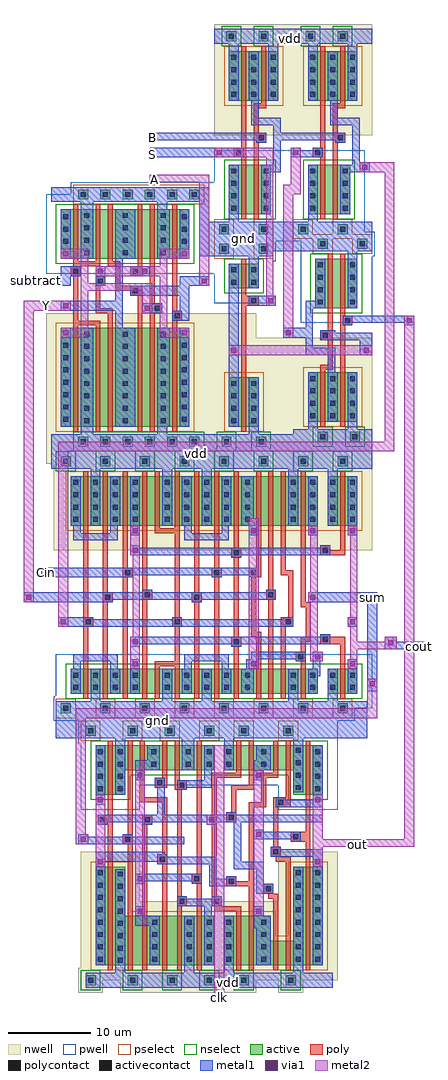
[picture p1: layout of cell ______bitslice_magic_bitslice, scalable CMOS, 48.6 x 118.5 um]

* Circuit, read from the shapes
.subckt ______bitslice_magic_bitslice A B Cin S Y clk cout gnd out subtract sum vdd
M1 gnd subtract n1 gnd nfet w=6u l=0.6u
M2 gnd ______FA_magic_fa_2/A n2 gnd nfet w=3u l=0.6u
M3 n3 subtract gnd gnd nfet w=6u l=0.6u
M4 n2 Y gnd gnd nfet w=3u l=0.6u
M5 gnd clk n4 gnd nfet w=6u l=0.6u
M6 Y A n3 gnd nfet w=6u l=0.6u
M7 n5 Cin n2 gnd nfet w=3u l=0.6u
M8 n6 sum gnd gnd nfet w=3u l=0.6u
M9 n7 n8 Y gnd nfet w=6u l=0.6u
M10 n9 n4 n6 gnd nfet w=3u l=0.6u
M11 n10 Y n5 gnd nfet w=3u l=0.6u
M12 gnd n1 n7 gnd nfet w=6u l=0.6u
M13 gnd ______FA_magic_fa_2/A n10 gnd nfet w=3u l=0.6u
M14 n11 clk n9 gnd nfet w=3u l=0.6u
M15 n8 A gnd gnd nfet w=6u l=0.6u
M16 gnd n12 n11 gnd nfet w=3u l=0.6u
M17 n13 ______FA_magic_fa_2/A gnd gnd nfet w=3u l=0.6u
M18 gnd Y n13 gnd nfet w=3u l=0.6u
M19 n12 n9 gnd gnd nfet w=3u l=0.6u
M20 n13 Cin gnd gnd nfet w=3u l=0.6u
M21 n14 n5 n13 gnd nfet w=3u l=0.6u
M22 n15 n12 gnd gnd nfet w=3u l=0.6u
M23 gnd S ______mux21_magic_mux21_1/______nand_magic_nand_3/B gnd nfet w=3u l=0.6u
M24 n16 S gnd gnd nfet w=6u l=0.6u
M25 n17 clk n15 gnd nfet w=3u l=0.6u
M26 ______mux21_magic_mux21_1/______nand_magic_nand_1/B B n16 gnd nfet w=6u l=0.6u
M27 n18 Cin n14 gnd nfet w=3u l=0.6u
M28 n19 Y n18 gnd nfet w=3u l=0.6u
M29 n20 n4 n17 gnd nfet w=3u l=0.6u
M30 gnd ______FA_magic_fa_2/A n19 gnd nfet w=3u l=0.6u
M31 gnd out n20 gnd nfet w=3u l=0.6u
M32 sum n14 gnd gnd nfet w=3u l=0.6u
M33 out n17 gnd gnd nfet w=6u l=0.6u
M34 n21 ______mux21_magic_mux21_1/______nand_magic_nand_1/A gnd gnd nfet w=6u l=0.6u
M35 n22 ______mux21_magic_mux21_1/______nand_magic_nand_3/B ______mux21_magic_mux21_1/______nand_magic_nand_1/A gnd nfet w=6u l=0.6u
M36 ______FA_magic_fa_2/A ______mux21_magic_mux21_1/______nand_magic_nand_1/B n21 gnd nfet w=6u l=0.6u
M37 cout n5 gnd gnd nfet w=3u l=0.6u
M38 gnd out n22 gnd nfet w=6u l=0.6u
M39 vdd subtract n1 vdd pfet w=12u l=0.6u
M40 vdd ______FA_magic_fa_2/A n23 vdd pfet w=6u l=0.6u
M41 n24 subtract vdd vdd pfet w=12u l=0.6u
M42 n23 Y vdd vdd pfet w=6u l=0.6u
M43 vdd clk n4 vdd pfet w=12u l=0.6u
M44 Y n8 n24 vdd pfet w=12u l=0.6u
M45 n5 Cin n23 vdd pfet w=6u l=0.6u
M46 n25 sum vdd vdd pfet w=6u l=0.6u
M47 n26 A Y vdd pfet w=12u l=0.6u
M48 n9 clk n25 vdd pfet w=6u l=0.6u
M49 n27 Y n5 vdd pfet w=6u l=0.6u
M50 vdd n1 n26 vdd pfet w=12u l=0.6u
M51 vdd ______FA_magic_fa_2/A n27 vdd pfet w=6u l=0.6u
M52 n28 n4 n9 vdd pfet w=6u l=0.6u
M53 n8 A vdd vdd pfet w=12u l=0.6u
M54 n29 ______FA_magic_fa_2/A vdd vdd pfet w=6u l=0.6u
M55 vdd n12 n28 vdd pfet w=6u l=0.6u
M56 vdd Y n29 vdd pfet w=6u l=0.6u
M57 n12 n9 vdd vdd pfet w=6u l=0.6u
M58 n29 Cin vdd vdd pfet w=6u l=0.6u
M59 n14 n5 n29 vdd pfet w=6u l=0.6u
M60 n30 n12 vdd vdd pfet w=6u l=0.6u
M61 vdd S ______mux21_magic_mux21_1/______nand_magic_nand_3/B vdd pfet w=6u l=0.6u
M62 ______mux21_magic_mux21_1/______nand_magic_nand_1/B S vdd vdd pfet w=6u l=0.6u
M63 n17 n4 n30 vdd pfet w=6u l=0.6u
M64 n31 Cin n14 vdd pfet w=6u l=0.6u
M65 vdd B ______mux21_magic_mux21_1/______nand_magic_nand_1/B vdd pfet w=6u l=0.6u
M66 n32 Y n31 vdd pfet w=6u l=0.6u
M67 n33 clk n17 vdd pfet w=3u l=0.6u
M68 vdd ______FA_magic_fa_2/A n32 vdd pfet w=6u l=0.6u
M69 vdd out n33 vdd pfet w=3u l=0.6u
M70 sum n14 vdd vdd pfet w=6u l=0.6u
M71 out n17 vdd vdd pfet w=12u l=0.6u
M72 ______mux21_magic_mux21_1/______nand_magic_nand_1/A ______mux21_magic_mux21_1/______nand_magic_nand_3/B vdd vdd pfet w=6u l=0.6u
M73 ______FA_magic_fa_2/A ______mux21_magic_mux21_1/______nand_magic_nand_1/A vdd vdd pfet w=6u l=0.6u
M74 cout n5 vdd vdd pfet w=6u l=0.6u
M75 vdd out ______mux21_magic_mux21_1/______nand_magic_nand_1/A vdd pfet w=6u l=0.6u
M76 vdd ______mux21_magic_mux21_1/______nand_magic_nand_1/B ______FA_magic_fa_2/A vdd pfet w=6u l=0.6u
.ends

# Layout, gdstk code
from math import pi, radians
import gdstk
lib = gdstk.Library(unit=1e-6, precision=1e-09)
def R(c, l, rs):  # rectangles x0, y0, x1, y1
    for r in rs: c.add(gdstk.rectangle(r[:2], r[2:], *l))
def A(c, l, x, y, w, h, nx, ny, dx, dy):  # array of equal rectangles
    R(c, l, [(x+i*dx, y+j*dy, x+i*dx+w, y+j*dy+h) for i in range(nx) for j in range(ny)])
pwell = (41, 0)
nwell = (42, 0)
active = (43, 0)
pselect = (44, 0)
nselect = (45, 0)
poly = (46, 0)
polycontact = (47, 0)
activecontact = (48, 0)
metal1 = (49, 0)
via1 = (50, 0)
metal2 = (51, 0)

c_______xor2_magic_xor2 = lib.new_cell('______XOR2_magic_xor2')
R(c_______xor2_magic_xor2, pwell, [(3,-1.5,19.5,0), (3,0,22.5,1.5), (3.3,1.5,22.5,9.6)])
R(c_______xor2_magic_xor2, nwell, [(3,14.4,22.5,31.5)])
A(c_______xor2_magic_xor2, active, 3.9, -0.6, 1.2, 1.2, 6, 2, 2.7, 30)
R(c_______xor2_magic_xor2, active, [(5.1,1.8,20.7,7.8), (5.1,16.2,20.7,28.2)])
R(c_______xor2_magic_xor2, pselect, [(3.3,-1.2,19.2,1.2), (4.5,15.6,21.3,28.8)])
R(c_______xor2_magic_xor2, nselect, [(4.5,1.2,21.3,8.4), (3.3,28.8,19.2,31.2)])
R(c_______xor2_magic_xor2, poly, [(6.6,1.2,7.2,14.1), (9.3,1.2,9.9,13.2), (10.8,1.2,11.4,8.7), (14.4,1.2,15,8.1), (15.9,1.2,16.5,8.1), (18.6,1.2,19.2,8.1), (13.5,8.1,15,8.7), (15.9,8.1,19.2,8.7), (10.8,8.7,12.3,9.9), (13.5,8.7,14.1,11.1), (18.3,8.7,19.5,9.9), (15.3,9.9,16.5,11.1), (18.6,9.9,19.2,15.3), (10.8,11.1,14.1,11.7), (15.9,11.1,16.5,13.8), (10.8,11.7,12.3,12.3), (10.8,12.3,11.4,28.8), (8.4,13.2,9.9,14.4), (14.4,13.8,16.5,14.4), (6,14.1,7.2,15.3), (9.3,14.4,9.9,28.8), (14.4,14.4,15,28.8), (6.6,15.3,7.2,28.8), (15.9,15.3,19.2,15.9), (15.9,15.9,16.5,28.8), (18.6,15.9,19.2,28.8)])
R(c_______xor2_magic_xor2, polycontact, [(11.4,9,12,9.6), (18.6,9,19.2,9.6), (15.6,10.2,16.2,10.8), (11.4,11.4,12,12), (8.7,13.5,9.3,14.1), (6.3,14.4,6.9,15)])
A(c_______xor2_magic_xor2, activecontact, 4.2, -0.3, 0.6, 0.6, 6, 2, 2.7, 30)
A(c_______xor2_magic_xor2, activecontact, 7.95, 2.25, 0.6, 0.6, 3, 4, 4.65, 1.5)
A(c_______xor2_magic_xor2, activecontact, 5.4, 2.4, 0.6, 0.6, 1, 3, 0, 1.5)
A(c_______xor2_magic_xor2, activecontact, 19.8, 2.4, 0.6, 0.6, 1, 3, 0, 1.5)
A(c_______xor2_magic_xor2, activecontact, 7.95, 16.65, 0.6, 0.6, 3, 8, 4.65, 1.5)
A(c_______xor2_magic_xor2, activecontact, 5.4, 18, 0.6, 0.6, 1, 7, 0, 1.5)
A(c_______xor2_magic_xor2, activecontact, 19.8, 18, 0.6, 0.6, 1, 7, 0, 1.5)
R(c_______xor2_magic_xor2, metal1, [(3.9,-0.9,21.9,0.9), (7.8,0.9,9,1.8), (16.8,0.9,18.3,7.8), (5.1,1.8,6.3,7.8), (7.5,1.8,9,7.8), (11.7,1.8,14.1,7.8), (19.5,1.8,20.7,7.8), (13.2,7.8,14.1,12.9), (9.9,8.7,12.3,9.9), (15.3,8.7,16.5,11.1), (18.3,8.7,20.7,9.9), (19.5,9.9,20.7,11.1), (5.1,10.2,6.3,11.1), (5.1,11.1,12.3,12.3), (5.1,12.3,6.3,14.1), (13.2,12.9,20.7,14.1), (8.4,13.2,10.8,14.4), (5.1,14.1,7.2,15.3), (13.2,14.1,14.1,16.2), (5.1,16.2,6.3,28.2), (7.5,16.2,9,28.2), (11.7,16.2,14.1,28.2), (16.8,16.2,18.3,29.1), (19.5,16.2,20.7,28.2), (7.8,28.2,9,29.1), (3.9,29.1,21.9,30.9)])
R(c_______xor2_magic_xor2, via1, [(5.4,6.9,6,7.5), (19.8,6.9,20.4,7.5), (10.2,9,10.8,9.6), (15.6,9,16.2,9.6), (9.9,13.5,10.5,14.1), (5.4,16.5,6,17.1), (19.8,16.5,20.4,17.1)])
R(c_______xor2_magic_xor2, metal2, [(5.1,6.6,8.7,7.8), (17.4,6.6,20.7,7.8), (7.8,7.8,8.7,8.7), (17.4,7.8,18.3,10.8), (7.8,8.7,16.5,9.9), (7.8,9.9,8.7,16.2), (9.6,10.8,18.3,11.7), (9.6,11.7,10.8,14.4), (17.4,11.7,18.3,16.2), (5.1,16.2,8.7,17.4), (17.4,16.2,20.7,17.4)])
c_______xor2_magic_xor2.add(gdstk.Label('vdd', (4.5,30), layer=49, texttype=0))
c_______xor2_magic_xor2.add(gdstk.Label('gnd', (5.7,0), layer=49, texttype=0))
c_______xor2_magic_xor2.add(gdstk.Label('A', (5.7,10.5), layer=49, texttype=0))
c_______xor2_magic_xor2.add(gdstk.Label('B', (20.1,10.5), layer=49, texttype=0))
c_______xor2_magic_xor2.add(gdstk.Label('Y', (20.1,13.5), layer=49, texttype=0))

c_______nand_magic_nand = lib.new_cell('______nand_magic_nand')
R(c_______nand_magic_nand, pwell, [(-1.5,-1.5,6.3,0), (-1.5,0,7.5,1.5), (-1.2,1.5,7.5,9.6)])
R(c_______nand_magic_nand, nwell, [(-1.2,11.4,8.4,24.9)])
R(c_______nand_magic_nand, active, [(-0.6,-0.6,0.6,0.6), (4.2,-0.6,5.4,0.6), (0.6,1.8,5.7,7.8), (0.6,15.6,6.6,21.6), (0.3,22.8,1.5,24), (4.2,22.8,5.4,24)])
R(c_______nand_magic_nand, pselect, [(-1.2,-1.2,1.2,1.2), (3.6,-1.2,6,1.2), (0,15,7.2,22.2)])
R(c_______nand_magic_nand, nselect, [(0,1.2,6.3,8.4), (-0.3,22.2,2.1,24.6), (3.6,22.2,6,24.6)])
R(c_______nand_magic_nand, poly, [(2.1,1.2,2.7,8.7), (3.6,1.2,4.2,10.5), (1.2,8.7,2.7,9.9), (2.1,9.9,2.7,22.2), (3.6,10.5,5.1,11.7), (3.6,11.7,4.2,14.7), (3.6,14.7,5.1,15.3), (4.5,15.3,5.1,22.2)])
R(c_______nand_magic_nand, polycontact, [(1.5,9,2.1,9.6), (4.2,10.8,4.8,11.4)])
A(c_______nand_magic_nand, activecontact, 0.9, 2.25, 0.6, 0.6, 1, 4, 0, 1.5)
A(c_______nand_magic_nand, activecontact, 4.8, 2.25, 0.6, 0.6, 1, 4, 0, 1.5)
A(c_______nand_magic_nand, activecontact, 0.9, 16.05, 0.6, 0.6, 3, 4, 2.4, 1.5)
R(c_______nand_magic_nand, activecontact, [(-0.3,-0.3,0.3,0.3), (4.5,-0.3,5.1,0.3), (0.6,23.1,1.2,23.7), (4.5,23.1,5.1,23.7)])
R(c_______nand_magic_nand, metal1, [(-1.2,-0.9,8.4,0.9), (0.6,0.9,1.8,7.8), (4.5,1.8,5.7,6.9), (4.5,6.9,6.9,7.8), (6,7.8,6.9,12.6), (-1.2,8.7,2.4,9.6), (1.2,9.6,2.4,9.9), (3.9,10.5,5.1,10.8), (-1.2,10.8,5.1,11.7), (3.3,12.6,6.9,13.5), (3.3,13.5,4.2,15.6), (0.6,15.6,1.8,22.5), (3,15.6,4.2,21.6), (5.4,15.6,6.6,22.5), (-1.2,22.5,8.4,24.3)])
c_______nand_magic_nand.add(gdstk.Label('gnd', (3,0), layer=49, texttype=0))
c_______nand_magic_nand.add(gdstk.Label('vdd', (3,23.4), layer=49, texttype=0))
c_______nand_magic_nand.add(gdstk.Label('A', (-0.9,9), layer=49, texttype=0))
c_______nand_magic_nand.add(gdstk.Label('B', (-0.9,11.1), layer=49, texttype=0))

c_______inv_magic_inverter = lib.new_cell('______inv_magic_inverter')
R(c_______inv_magic_inverter, pwell, [(-1.5,-0.9,6.3,2.1), (-1.2,2.1,6,7.2)])
R(c_______inv_magic_inverter, nwell, [(-1.2,12,6,25.5)])
R(c_______inv_magic_inverter, active, [(-0.6,0,0.6,1.2), (4.2,0,5.4,1.2), (0.6,2.4,4.2,5.4), (0.6,16.2,4.2,22.2), (-0.3,23.4,0.9,24.6), (3.9,23.4,5.1,24.6)])
R(c_______inv_magic_inverter, pselect, [(-1.2,-0.6,1.2,1.8), (3.6,-0.6,6,1.8), (0,15.6,4.8,22.8)])
R(c_______inv_magic_inverter, nselect, [(0,1.8,4.8,6), (-0.9,22.8,1.5,25.2), (3.3,22.8,5.7,25.2)])
R(c_______inv_magic_inverter, poly, [(2.1,1.8,2.7,6.3), (0.6,6.3,2.7,7.5), (2.1,7.5,2.7,22.8)])
R(c_______inv_magic_inverter, polycontact, [(0.9,6.6,1.5,7.2)])
A(c_______inv_magic_inverter, activecontact, 0.9, 16.65, 0.6, 0.6, 1, 4, 0, 1.5)
A(c_______inv_magic_inverter, activecontact, 3.3, 16.65, 0.6, 0.6, 1, 4, 0, 1.5)
R(c_______inv_magic_inverter, activecontact, [(-0.3,0.3,0.3,0.9), (4.5,0.3,5.1,0.9), (0.9,2.85,1.5,3.45), (3.3,2.85,3.9,3.45), (0.9,4.35,1.5,4.95), (3.3,4.35,3.9,4.95), (0,23.7,0.6,24.3), (4.2,23.7,4.8,24.3)])
R(c_______inv_magic_inverter, metal1, [(-1.2,-0.3,6,1.5), (0.6,1.5,1.8,5.4), (3,2.4,4.2,22.2), (-1.2,6.3,1.8,7.2), (0.6,7.2,1.8,7.5), (0.6,16.2,1.8,23.1), (-1.2,23.1,6,24.9)])
c_______inv_magic_inverter.add(gdstk.Label('gnd', (1.8,0.6), layer=49, texttype=0))
c_______inv_magic_inverter.add(gdstk.Label('Y', (3.6,7.8), layer=49, texttype=0))
c_______inv_magic_inverter.add(gdstk.Label('vdd', (2.1,24), layer=49, texttype=0))
c_______inv_magic_inverter.add(gdstk.Label('A', (-0.6,6.6), layer=49, texttype=0))

c_______mux21_magic_mux21 = lib.new_cell('______mux21_magic_mux21')
R(c_______mux21_magic_mux21, pwell, [(10.2,-1.5,11.4,-1.2), (7.2,-1.2,9,0.3), (16.8,0,18,0.3), (8.4,0.3,9,1.8), (8.4,1.8,9.3,9.9)])
R(c_______mux21_magic_mux21, nwell, [(-0.3,-27,18.9,-12.9)])
R(c_______mux21_magic_mux21, metal1, [(6.9,-26.4,18.9,-25.8), (6.9,-25.8,9.3,-24.6), (1.5,-15,2.7,-13.8), (17.4,-15,18.9,-12.3), (8.1,-12.9,11.7,-11.7), (13.8,-12.9,15.6,-12.3), (13.8,-12.3,14.4,-12), (16.5,-11.1,18.9,-10.2), (15.9,-9.3,17.1,-2.4), (5.1,-9,7.2,-7.8), (-0.3,-2.4,18.9,1.2), (16.5,7.2,17.4,13.8), (-0.3,9,3.3,9.9), (9,9,11.7,9.9), (-0.3,9.9,2.1,10.2), (9,9.9,10.2,10.2), (-0.3,11.1,6,12), (6.9,11.1,10.8,12), (-0.3,22.8,18.9,24.6)])
R(c_______mux21_magic_mux21, via1, [(1.8,-14.7,2.4,-14.1), (17.85,-14.7,18.45,-14.1), (8.4,-12.6,9,-12), (6.3,-8.7,6.9,-8.1), (0,9.3,0.6,9.9), (9.3,9.3,9.9,9.9)])
R(c_______mux21_magic_mux21, metal2, [(1.5,-15,18.9,-13.8), (8.1,-12.9,9.3,4.5), (6,-9,7.2,-7.8), (6,-7.8,6.9,9), (8.1,4.5,10.2,5.7), (9,5.7,10.2,10.2), (-0.3,9,6.9,10.2)])
c_______mux21_magic_mux21.add(gdstk.Reference(c_______nand_magic_nand, (0.9,0.3)))
c_______mux21_magic_mux21.add(gdstk.Reference(c_______nand_magic_nand, (10.5,0.3)))
c_______mux21_magic_mux21.add(gdstk.Reference(c_______inv_magic_inverter, (5.7,-1.5), rotation=pi))
c_______mux21_magic_mux21.add(gdstk.Reference(c_______nand_magic_nand, (17.7,-1.5), rotation=pi))
c_______mux21_magic_mux21.add(gdstk.Label('vdd', (9,-25.5), layer=49, texttype=0))
c_______mux21_magic_mux21.add(gdstk.Label('gnd', (7.5,0), layer=49, texttype=0))
c_______mux21_magic_mux21.add(gdstk.Label('B', (2.1,11.4), layer=49, texttype=0))
c_______mux21_magic_mux21.add(gdstk.Label('S', (1.5,9.6), layer=51, texttype=0))
c_______mux21_magic_mux21.add(gdstk.Label('out', (17.1,10.2), layer=49, texttype=0))
c_______mux21_magic_mux21.add(gdstk.Label('A', (17.7,-10.8), layer=49, texttype=0))
c_______mux21_magic_mux21.add(gdstk.Label('vdd', (8.4,23.7), layer=49, texttype=0))

c_______fa_magic_fa = lib.new_cell('______FA_magic_fa')
R(c_______fa_magic_fa, pwell, [(-1.5,-1.5,35.1,0), (-1.5,0,37.2,1.5), (-1.2,1.5,37.2,6.6)])
R(c_______fa_magic_fa, nwell, [(-1.5,19.2,37.2,31.5)])
A(c_______fa_magic_fa, active, -0.6, -0.6, 1.2, 1.2, 8, 2, 4.8, 30)
R(c_______fa_magic_fa, active, [(0.6,1.8,30.6,4.8), (31.8,1.8,35.4,4.8), (0.6,22.2,30.6,28.2), (31.8,22.2,35.4,28.2)])
A(c_______fa_magic_fa, pselect, -1.2, -1.2, 2.4, 2.4, 8, 1, 4.8, 0)
R(c_______fa_magic_fa, pselect, [(0,21.6,36,28.8)])
A(c_______fa_magic_fa, nselect, -1.2, 28.8, 2.4, 2.4, 8, 1, 4.8, 0)
R(c_______fa_magic_fa, nselect, [(0,1.2,36,5.4)])
R(c_______fa_magic_fa, poly, [(2.1,1.2,2.7,9.9), (4.5,1.2,5.1,12.9), (6.9,1.2,7.5,15.9), (9.3,1.2,9.9,13.2), (10.8,1.2,11.4,5.1), (13.2,1.2,13.8,5.1), (15.6,1.2,16.2,12.9), (18,1.2,18.6,15.9), (20.4,1.2,21,7.5), (23.1,1.2,23.7,8.7), (24.6,1.2,25.2,13.2), (26.1,1.2,26.7,9.9), (28.5,1.2,29.1,5.7), (33.3,1.2,33.9,7.8), (10.8,5.1,13.8,5.7), (13.2,5.7,13.8,9.9), (27.9,5.7,29.1,6.9), (28.5,6.9,29.1,8.1), (20.1,7.5,21.3,8.7), (30.9,7.8,33.9,8.7), (28.5,8.1,29.7,8.7), (20.4,8.7,21,18.3), (22.5,8.7,23.7,9.3), (29.1,8.7,29.7,12.3), (30.9,8.7,32.1,9), (22.5,9.3,23.1,15.9), (2.1,9.9,3.3,11.1), (12.9,9.9,14.1,11.1), (26.1,9.9,27.6,11.1), (2.1,11.1,2.7,28.8), (13.2,11.1,13.8,21.3), (27,11.1,27.6,16.2), (28.5,12.3,29.7,12.9), (4.5,12.9,5.7,14.1), (15.3,12.9,16.5,14.1), (28.5,12.9,29.1,28.8), (9.3,13.2,10.5,14.4), (24.3,13.2,25.5,14.4), (4.5,14.1,5.1,28.8), (15.6,14.1,16.2,28.8), (9.3,14.4,9.9,28.8), (24.6,14.4,25.2,28.8), (6.9,15.9,8.1,17.1), (17.7,15.9,18.9,17.1), (22.2,15.9,23.7,17.1), (26.1,16.2,27.6,16.8), (26.1,16.8,26.7,28.8), (6.9,17.1,7.5,28.8), (18,17.1,18.6,28.8), (23.1,17.1,23.7,28.8), (20.1,18.3,21.3,19.5), (30.9,18.6,33.9,19.2), (30.9,19.2,32.1,19.8), (33.3,19.2,33.9,28.8), (20.4,19.5,21,28.8), (10.8,21.3,13.8,21.9), (10.8,21.9,11.4,28.8), (13.2,21.9,13.8,28.8)])
R(c_______fa_magic_fa, polycontact, [(28.2,6,28.8,6.6), (20.4,7.8,21,8.4), (31.2,8.1,31.8,8.7), (2.4,10.2,3,10.8), (13.2,10.2,13.8,10.8), (26.7,10.2,27.3,10.8), (4.8,13.2,5.4,13.8), (15.6,13.2,16.2,13.8), (9.6,13.5,10.2,14.1), (24.6,13.5,25.2,14.1), (7.2,16.2,7.8,16.8), (18,16.2,18.6,16.8), (22.5,16.2,23.1,16.8), (20.4,18.6,21,19.2), (31.2,18.9,31.8,19.5)])
A(c_______fa_magic_fa, activecontact, -0.3, -0.3, 0.6, 0.6, 8, 2, 4.8, 30)
A(c_______fa_magic_fa, activecontact, 0.9, 2.25, 0.6, 0.6, 4, 2, 2.4, 1.5)
A(c_______fa_magic_fa, activecontact, 12, 2.25, 0.6, 0.6, 4, 2, 2.4, 1.5)
A(c_______fa_magic_fa, activecontact, 27.3, 2.25, 0.6, 0.6, 4, 2, 2.4, 1.5)
A(c_______fa_magic_fa, activecontact, 0.9, 22.65, 0.6, 0.6, 4, 4, 2.4, 1.5)
A(c_______fa_magic_fa, activecontact, 12, 22.65, 0.6, 0.6, 4, 4, 2.4, 1.5)
A(c_______fa_magic_fa, activecontact, 21.75, 22.65, 0.6, 0.6, 1, 4, 0, 1.5)
A(c_______fa_magic_fa, activecontact, 27.3, 22.65, 0.6, 0.6, 4, 4, 2.4, 1.5)
R(c_______fa_magic_fa, activecontact, [(21.75,2.25,22.35,2.85), (21.75,3.75,22.35,4.35)])
R(c_______fa_magic_fa, metal1, [(-0.6,-0.9,36.6,0.9), (3,0.9,4.2,4.8), (11.7,0.9,12.9,4.8), (16.5,0.9,17.7,4.8), (27,0.9,28.2,4.8), (31.8,0.9,33,4.8), (0.6,1.8,1.8,4.8), (5.4,1.8,6.6,4.8), (7.8,1.8,9,6), (14.1,1.8,15.3,4.8), (18.9,1.8,20.1,4.8), (21.3,1.8,22.8,4.8), (29.4,1.8,30.6,3.9), (34.2,1.8,35.4,6), (29.4,3.9,30.9,4.8), (0.9,4.8,1.8,5.7), (5.4,4.8,6.3,5.7), (14.4,4.8,15.3,5.7), (18.9,4.8,19.8,5.7), (21.9,4.8,23.4,6), (30,4.8,30.9,5.7), (0.9,5.7,6.3,6.6), (14.4,5.7,19.8,6.6), (27.9,5.7,29.1,6), (30,5.7,31.2,6.9), (22.5,6,29.1,6.9), (7.8,7.5,9,7.8), (20.1,7.5,21.3,7.8), (7.8,7.8,32.1,8.7), (30.9,8.7,32.1,9), (0.6,9.9,27.6,10.8), (34.2,9.9,35.4,11.1), (0.6,10.8,3.3,11.1), (12.9,10.8,14.1,11.1), (26.4,10.8,27.6,11.1), (3,12.9,5.7,13.2), (15.3,12.9,16.5,13.2), (29.4,12.9,30.6,14.1), (3,13.2,25.5,14.1), (9.3,14.1,10.5,14.4), (24.3,14.1,25.5,14.4), (5.4,15.9,8.1,16.2), (17.7,15.9,18.9,16.2), (22.2,15.9,23.4,16.2), (5.4,16.2,23.4,17.1), (20.1,18.3,21.3,18.6), (7.8,18.6,32.1,19.5), (7.8,19.5,9,19.8), (30.9,19.5,32.1,19.8), (0.9,20.4,6.3,21.3), (14.4,20.4,19.8,21.3), (7.8,21,9,28.2), (22.2,21,23.4,22.2), (29.4,21,30.6,28.2), (34.2,21,35.4,28.2), (0.9,21.3,1.8,22.2), (5.4,21.3,6.3,22.2), (14.4,21.3,15.3,22.2), (18.9,21.3,19.8,22.2), (0.6,22.2,1.8,28.2), (3,22.2,4.2,29.1), (5.4,22.2,6.6,28.2), (11.7,22.2,12.9,29.1), (14.1,22.2,15.3,28.2), (16.5,22.2,17.7,29.1), (18.9,22.2,20.1,28.2), (21.3,22.2,23.4,23.1), (27,22.2,28.2,29.1), (31.8,22.2,33,29.1), (21.3,23.1,22.8,28.2), (-0.6,29.1,36.6,30.9)])
R(c_______fa_magic_fa, via1, [(8.1,5.1,8.7,5.7), (22.5,5.1,23.1,5.7), (34.5,5.1,35.1,5.7), (30.3,6,30.9,6.6), (8.1,7.8,8.7,8.4), (34.5,10.2,35.1,10.8), (29.7,13.2,30.3,13.8), (8.1,18.9,8.7,19.5), (8.1,21.3,8.7,21.9), (22.5,21.3,23.1,21.9), (29.7,21.3,30.3,21.9), (34.5,21.3,35.1,21.9)])
R(c_______fa_magic_fa, metal2, [(7.8,4.8,9,8.7), (22.2,4.8,23.4,23.1), (34.2,4.8,35.4,6), (29.7,5.7,31.2,6.9), (34.5,6,35.4,9.9), (29.7,6.9,30.6,12.9), (8.1,8.7,9,18.6), (34.2,9.9,35.4,11.1), (34.5,11.1,35.4,21), (29.4,12.9,30.6,14.1), (29.7,14.1,30.6,21), (7.8,18.6,9,22.2), (29.4,21,30.6,22.2), (34.2,21,35.4,22.2)])
c_______fa_magic_fa.add(gdstk.Label('vdd', (0,30), layer=49, texttype=0))
c_______fa_magic_fa.add(gdstk.Label('gnd', (1.2,0), layer=49, texttype=0))
c_______fa_magic_fa.add(gdstk.Label('A', (1.2,10.5), layer=49, texttype=0))
c_______fa_magic_fa.add(gdstk.Label('Cout', (34.8,10.5), layer=51, texttype=0))
c_______fa_magic_fa.add(gdstk.Label('Sum', (30,13.5), layer=51, texttype=0))
c_______fa_magic_fa.add(gdstk.Label('B', (3.6,13.5), layer=49, texttype=0))
c_______fa_magic_fa.add(gdstk.Label('C', (6,16.5), layer=49, texttype=0))

c_______dffpos_magic_dffpo = lib.new_cell('______dffpos_magic_dffpos')
R(c_______dffpos_magic_dffpo, pwell, [(-12.3,-28.5,-9.3,-27), (-7.2,-28.5,9.3,-27), (11.7,-28.5,14.7,-27), (-12.3,-27,19.2,-25.5), (-12,-25.5,19.2,-20.4), (-12,-20.4,-4.8,-17.4), (12,-20.4,19.2,-17.4)])
R(c_______dffpos_magic_dffpo, nwell, [(-12,-12.3,-4.8,-6.3), (12,-12.3,19.2,-6.3), (-12,-6.3,19.2,1.8), (-12.3,1.8,19.2,3.3), (-12.3,3.3,-9.3,4.8), (-7.2,3.3,9.3,4.8), (12,3.3,15,4.8)])
R(c_______dffpos_magic_dffpo, active, [(-11.4,-27.6,-10.2,-26.4), (-6.3,-27.6,-5.1,-26.4), (-1.8,-27.6,-0.6,-26.4), (3,-27.6,4.2,-26.4), (7.2,-27.6,8.4,-26.4), (12.6,-27.6,13.8,-26.4), (-10.2,-25.2,4.2,-22.2), (5.4,-25.2,17.4,-22.2), (-10.2,-22.2,-6.6,-19.2), (13.8,-22.2,17.4,-19.2), (-10.2,-10.5,-6.6,-4.5), (13.8,-10.5,17.4,-1.5), (-10.2,-4.5,4.2,1.5), (5.4,-4.5,11.1,-1.5), (5.4,-1.5,17.4,1.5), (-11.4,2.7,-10.2,3.9), (-6.3,2.7,-5.1,3.9), (-1.5,2.7,-0.3,3.9), (3,2.7,4.2,3.9), (7.2,2.7,8.4,3.9), (12.9,2.7,14.1,3.9)])
R(c_______dffpos_magic_dffpo, pselect, [(-12,-28.2,-9.6,-25.8), (-6.9,-28.2,-4.5,-25.8), (-2.4,-28.2,0,-25.8), (2.4,-28.2,4.8,-25.8), (6.6,-28.2,9,-25.8), (12,-28.2,14.4,-25.8), (-10.8,-11.1,-6,-5.1), (13.2,-11.1,18,-2.1), (-10.8,-5.1,11.7,-2.1), (-10.8,-2.1,18,2.1)])
R(c_______dffpos_magic_dffpo, nselect, [(-10.8,-25.8,18,-21.6), (-10.8,-21.6,-6,-18.6), (13.2,-21.6,18,-18.6), (-12,2.1,-9.6,4.5), (-6.9,2.1,-4.5,4.5), (-2.1,2.1,0.3,4.5), (2.4,2.1,4.8,4.5), (6.6,2.1,9,4.5), (12.3,2.1,14.7,4.5)])
R(c_______dffpos_magic_dffpo, poly, [(-8.7,-25.8,-8.1,-16.8), (-6.3,-25.8,-5.7,-14.4), (-4.8,-25.8,-4.2,-18.9), (-2.1,-25.8,-1.5,-21.3), (-0.6,-25.8,0,-21), (2.1,-25.8,2.7,-9.6), (6.9,-25.8,7.5,-21.9), (8.4,-25.8,9,-20.4), (11.4,-25.8,12,-21.9), (12.9,-25.8,13.5,-18.9), (15.3,-25.8,15.9,-14.7), (3.9,-21.9,7.5,-21.3), (9.9,-21.9,12,-21.3), (-3,-21.3,-1.5,-20.1), (3.9,-21.3,4.5,-6.9), (9.9,-21.3,10.5,-18.3), (-0.6,-21,0.9,-19.8), (6.3,-20.4,9,-19.8), (-0.3,-19.8,0.3,-6.9), (6.3,-19.8,6.9,-17.1), (-4.8,-18.9,-1.5,-18.3), (11.4,-18.9,13.5,-17.7), (-2.1,-18.3,-1.5,-12), (8.4,-18.3,10.5,-17.7), (8.4,-17.7,9,-8.7), (11.4,-17.7,12,-12.9), (5.7,-17.1,6.9,-15.9), (-9.9,-16.8,-8.1,-15.6), (-4.5,-16.8,-3.3,-15.6), (-8.7,-15.6,-8.1,2.1), (-4.5,-15.6,-3.9,2.1), (13.5,-14.7,15.9,-13.5), (-6.9,-14.4,-5.7,-13.2), (15.3,-13.5,15.9,2.1), (-6.3,-13.2,-5.7,2.1), (11.1,-12.9,12.3,-11.7), (-2.7,-12,-1.5,-10.8), (11.7,-11.7,13.5,-11.1), (12.9,-11.1,13.5,2.1), (-2.1,-10.8,-1.5,2.1), (1.5,-9.6,2.7,-8.4), (5.7,-9.3,6.9,-8.7), (5.7,-8.7,9,-8.1), (2.1,-8.4,2.7,2.1), (10.2,-8.4,11.4,-7.2), (8.4,-8.1,9,2.1), (10.8,-7.2,12,-6.6), (-0.3,-6.9,0.9,-5.7), (3.9,-6.9,5.1,-5.7), (11.4,-6.6,12,2.1), (-0.3,-5.7,0.3,2.1), (4.2,-5.7,7.5,-5.1), (6.9,-5.1,7.5,2.1)])
R(c_______dffpos_magic_dffpo, polycontact, [(-2.7,-21,-2.1,-20.4), (0,-20.7,0.6,-20.1), (12,-18.6,12.6,-18), (6,-16.8,6.6,-16.2), (-9.6,-16.5,-9,-15.9), (-4.2,-16.5,-3.6,-15.9), (13.8,-14.4,14.4,-13.8), (-6.6,-14.1,-6,-13.5), (11.4,-12.6,12,-12), (-2.4,-11.7,-1.8,-11.1), (1.8,-9.3,2.4,-8.7), (6,-9,6.6,-8.4), (10.5,-8.1,11.1,-7.5), (0,-6.6,0.6,-6), (4.2,-6.6,4.8,-6)])
A(c_______dffpos_magic_dffpo, activecontact, 14.1, -24.9, 0.6, 0.6, 1, 4, 0, 1.5)
A(c_______dffpos_magic_dffpo, activecontact, -9.9, -24.75, 0.6, 0.6, 1, 4, 0, 1.5)
A(c_______dffpos_magic_dffpo, activecontact, -7.5, -24.75, 0.6, 0.6, 1, 4, 0, 1.5)
A(c_______dffpos_magic_dffpo, activecontact, 16.5, -24.75, 0.6, 0.6, 1, 4, 0, 1.5)
A(c_______dffpos_magic_dffpo, activecontact, -9.9, -10.05, 0.6, 0.6, 1, 8, 0, 1.5)
A(c_______dffpos_magic_dffpo, activecontact, 14.1, -10.05, 0.6, 0.6, 1, 8, 0, 1.5)
A(c_______dffpos_magic_dffpo, activecontact, 16.5, -10.05, 0.6, 0.6, 1, 8, 0, 1.5)
A(c_______dffpos_magic_dffpo, activecontact, -7.5, -9.9, 0.6, 0.6, 1, 8, 0, 1.5)
A(c_______dffpos_magic_dffpo, activecontact, -3.3, -4.05, 0.6, 0.6, 1, 4, 0, 1.5)
A(c_______dffpos_magic_dffpo, activecontact, 0.9, -4.05, 0.6, 0.6, 3, 4, 2.4, 1.5)
A(c_______dffpos_magic_dffpo, activecontact, 9.9, -4.05, 0.6, 0.6, 1, 4, 0, 1.5)
R(c_______dffpos_magic_dffpo, activecontact, [(-11.1,-27.3,-10.5,-26.7), (-6,-27.3,-5.4,-26.7), (-1.5,-27.3,-0.9,-26.7), (3.3,-27.3,3.9,-26.7), (7.5,-27.3,8.1,-26.7), (12.9,-27.3,13.5,-26.7), (-3.45,-24.75,-2.85,-24.15), (0.75,-24.75,1.35,-24.15), (3.3,-24.75,3.9,-24.15), (5.7,-24.75,6.3,-24.15), (9.9,-24.75,10.5,-24.15), (-3.45,-23.25,-2.85,-22.65), (0.75,-23.25,1.35,-22.65), (3.3,-23.25,3.9,-22.65), (5.7,-23.25,6.3,-22.65), (9.9,-23.25,10.5,-22.65), (-11.1,3,-10.5,3.6), (-6,3,-5.4,3.6), (-1.2,3,-0.6,3.6), (3.3,3,3.9,3.6), (7.5,3,8.1,3.6), (13.2,3,13.8,3.6)])
R(c_______dffpos_magic_dffpo, metal1, [(-11.4,-27.9,18.6,-26.1), (-7.8,-26.1,-6.6,-19.2), (0.3,-26.1,1.8,-22.2), (5.4,-26.1,6.6,-22.2), (13.8,-26.1,15,-19.5), (-10.2,-25.2,-9,-18), (-3.9,-25.2,-2.4,-23.4), (3,-25.2,4.2,-22.2), (9.3,-25.2,11.1,-23.4), (16.2,-25.2,17.4,-18.6), (-5.4,-23.4,-2.4,-22.2), (9,-23.4,11.1,-22.2), (-5.4,-22.2,-4.2,-21), (3,-22.2,3.9,-21), (9,-22.2,10.2,-21), (-3,-21.3,-1.8,-20.1), (-0.3,-21,3.9,-20.1), (-2.7,-20.1,-1.8,-16.8), (-0.3,-20.1,0.9,-19.8), (11.7,-18.9,12.9,-18.6), (11.7,-18.6,17.4,-17.7), (5.7,-17.1,6.9,-16.8), (-9.9,-16.8,17.4,-15.9), (-9.9,-15.9,-8.7,-15.6), (-4.5,-15.9,-3.3,-15.6), (3.3,-15.9,4.5,-15.6), (6.6,-15.9,7.5,-11.1), (9,-15,10.2,-14.7), (9,-14.7,14.7,-13.8), (-6.9,-14.4,-5.7,-14.1), (-11.4,-14.1,0.6,-13.2), (13.5,-13.8,14.7,-13.5), (11.1,-12.9,12.3,-12.6), (11.1,-12.6,17.4,-11.7), (-10.2,-12.3,-1.8,-12), (-10.2,-12,-1.5,-11.7), (-10.2,-11.7,4.5,-11.1), (16.2,-11.7,17.4,1.5), (-10.2,-11.1,-9,1.5), (-2.7,-11.1,4.5,-10.8), (6.6,-11.1,10.2,-10.2), (3.6,-10.8,4.5,-9), (13.8,-10.5,15,2.4), (-7.8,-10.2,-6.6,2.4), (9.3,-10.2,10.2,-8.4), (-5.4,-9.6,2.7,-8.7), (5.7,-9.3,6.9,-9), (3.6,-9,6.9,-8.1), (-5.4,-8.7,-4.2,-8.4), (1.5,-8.7,2.7,-8.4), (9.3,-8.4,11.4,-7.2), (-0.3,-6.9,0.9,-6.6), (3.9,-6.9,5.1,-6.6), (-0.3,-6.6,5.1,-5.7), (-5.4,-5.7,-4.2,-4.5), (3,-5.7,3.9,-4.5), (9,-5.7,10.2,-4.5), (-5.4,-4.5,-2.4,-3.3), (0.6,-4.5,1.8,2.4), (3,-4.5,4.2,1.5), (5.4,-4.5,6.6,2.4), (9,-4.5,11.1,-3), (-3.6,-3.3,-2.4,1.5), (9.3,-3,11.1,1.5), (-11.4,2.4,18.6,4.2)])
R(c_______dffpos_magic_dffpo, via1, [(-5.1,-21.9,-4.5,-21.3), (9.3,-21.9,9.9,-21.3), (-9.9,-18.9,-9.3,-18.3), (16.5,-18.9,17.1,-18.3), (3.6,-16.5,4.2,-15.9), (9.3,-14.7,9.9,-14.1), (-9.9,-11.4,-9.3,-10.8), (16.5,-11.4,17.1,-10.8), (-5.1,-9.3,-4.5,-8.7), (-5.1,-5.4,-4.5,-4.8), (9.3,-5.4,9.9,-4.8)])
R(c_______dffpos_magic_dffpo, metal2, [(4.2,-25.2,5.4,-16.8), (-5.4,-22.2,-4.2,-4.5), (9,-22.2,10.2,-4.5), (-10.2,-19.2,-9,-10.5), (16.2,-19.2,17.4,-10.5), (3.3,-16.8,5.4,-15.6), (4.2,-15.6,5.4,4.8)])
c_______dffpos_magic_dffpo.add(gdstk.Label('vdd', (1.8,3), layer=49, texttype=0))
c_______dffpos_magic_dffpo.add(gdstk.Label('gnd', (1.8,-27.3), layer=49, texttype=0))
c_______dffpos_magic_dffpo.add(gdstk.Label('D', (-11.1,-13.5), layer=49, texttype=0))
c_______dffpos_magic_dffpo.add(gdstk.Label('Q', (16.8,-14.4), layer=51, texttype=0))
c_______dffpos_magic_dffpo.add(gdstk.Label('clk', (4.8,4.5), layer=51, texttype=0))

c_______bitslice_magic_bit = lib.new_cell('______bitslice_magic_bitslice')
R(c_______bitslice_magic_bit, pwell, [(-22.5,-28.2,-20.4,-27), (-3.9,-28.2,-1.5,-27), (1.5,-28.2,6,-27), (-10.2,27.3,-9,28.8), (-10.2,28.8,-9.3,34.2), (-10.2,34.2,-9,35.4), (-9.9,35.4,-9,38.4)])
R(c_______bitslice_magic_bit, nwell, [(-29.4,4.2,10.2,19.2), (-29.4,19.2,-3.9,22.5)])
R(c_______bitslice_magic_bit, metal1, [(-24.6,-59.4,5.4,-57.6), (-25.5,-42,-24.3,-40.8), (-28.2,-29.1,9.6,-24.6), (9.6,-23.4,10.8,-12.6), (11.7,-18.3,16.5,-17.4), (11.7,-17.4,13.2,-16.8), (-27.9,-15.6,-24.9,-14.4), (-32.1,-12.6,-23.1,-11.4), (2.4,-12.6,10.8,-11.4), (-30,-9.6,-20.4,-8.4), (-28.8,3.6,10.2,7.8), (14.1,21,15.3,21.3), (6.9,21.3,15.3,22.2), (-27.6,22.8,-26.4,24), (-31.2,25.8,-26.4,26.7), (-13.2,25.8,-9.6,27), (-10.8,29.4,-7.2,30), (-10.8,30,10.2,33.6), (-10.8,33.6,-9.6,36), (-28.8,36,-9.6,37.8), (8.7,39.6,9.9,40.8), (-16.8,41.4,-7.8,42.6), (-16.8,43.5,-2.7,44.4), (-9,55.2,10.2,57)])
R(c_______bitslice_magic_bit, via1, [(-25.2,-41.7,-24.6,-41.1), (9.9,-22.8,10.5,-22.2), (12.15,-17.85,12.75,-17.25), (-27.6,-15.3,-27,-14.7), (-31.8,-12.3,-31.2,-11.7), (14.4,21.3,15,21.9), (-27.3,23.1,-26.7,23.7), (-10.5,26.1,-9.9,26.7), (9,39.9,9.6,40.5)])
R(c_______bitslice_magic_bit, metal2, [(-9,-60.9,-7.8,-59.1), (3,-42.3,15.3,-41.4), (-25.8,-42,-24.3,-40.8), (14.1,-41.4,15.3,22.2), (-25.8,-40.8,-24.6,-26.7), (-25.8,-26.7,10.8,-25.5), (9.6,-25.5,10.8,-21.9), (7.5,-18.3,13.2,-17.4), (11.7,-17.4,13.2,-16.8), (-27.9,-15.6,-26.7,5.7), (-32.1,-12.6,-30.9,22.8), (-27.9,5.7,12.9,6.9), (11.7,6.9,12.9,39.6), (-32.1,22.8,-26.4,24), (-10.8,25.8,-9.6,38.4), (-16.8,38.4,-9.6,39.3), (8.7,39.6,12.9,40.8)])
c_______bitslice_magic_bit.add(gdstk.Reference(c_______xor2_magic_xor2, (-6.9,36.9), rotation=pi))
c_______bitslice_magic_bit.add(gdstk.Reference(c_______mux21_magic_mux21, (-8.7,32.4)))
c_______bitslice_magic_bit.add(gdstk.Reference(c_______fa_magic_fa, (-27,-25.5)))
c_______bitslice_magic_bit.add(gdstk.Reference(c_______dffpos_magic_dffpo, (-13.2,-55.2), x_reflection=True))
c_______bitslice_magic_bit.add(gdstk.Label('vdd', (0.3,55.8), layer=49, texttype=0))
c_______bitslice_magic_bit.add(gdstk.Label('gnd', (-5.4,31.5), layer=49, texttype=0))
c_______bitslice_magic_bit.add(gdstk.Label('vdd', (-11.1,5.4), layer=49, texttype=0))
c_______bitslice_magic_bit.add(gdstk.Label('gnd', (-15.9,-27), layer=49, texttype=0))
c_______bitslice_magic_bit.add(gdstk.Label('clk', (-8.4,-60.6), layer=51, texttype=0))
c_______bitslice_magic_bit.add(gdstk.Label('vdd', (-7.2,-58.8), layer=49, texttype=0))
c_______bitslice_magic_bit.add(gdstk.Label('A', (-16.2,38.7), layer=51, texttype=0))
c_______bitslice_magic_bit.add(gdstk.Label('B', (-16.5,43.8), layer=49, texttype=0))
c_______bitslice_magic_bit.add(gdstk.Label('subtract', (-30.6,26.4), layer=49, texttype=0))
c_______bitslice_magic_bit.add(gdstk.Label('sum', (10.2,-12), layer=49, texttype=0))
c_______bitslice_magic_bit.add(gdstk.Label('S', (-16.5,41.7), layer=49, texttype=0))
c_______bitslice_magic_bit.add(gdstk.Label('Y', (-29.4,23.4), layer=51, texttype=0))
c_______bitslice_magic_bit.add(gdstk.Label('Cin', (-29.4,-9), layer=49, texttype=0))
c_______bitslice_magic_bit.add(gdstk.Label('out', (8.4,-42), layer=51, texttype=0))
c_______bitslice_magic_bit.add(gdstk.Label('cout', (15.9,-18), layer=49, texttype=0))

lib.write_gds('______bitslice_magic_bitslice.gds')
